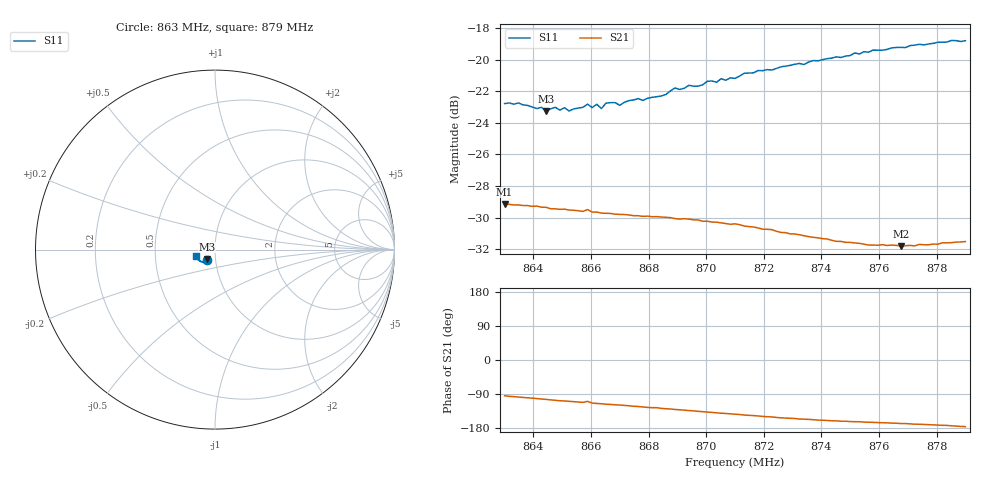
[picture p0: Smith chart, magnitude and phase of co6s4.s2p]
# HZ S RI R 50
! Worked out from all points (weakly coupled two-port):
!   101 points, 863 MHz to 879 MHz, reference 50 ohm
!   highest |S21| = -29.14 dB at 863 MHz (marker M1); lowest = -31.8 dB at 876.76 MHz (marker M2)
!   lowest |S11| = -23.3 dB at 864.44 MHz (marker M3), VSWR 1.15, Z = 45.5 - j4.75 ohm
!   |S11| at or under -10 dB: start of sweep to end of sweep
!   S12 and S22 are empty: the file has one direction only
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8.63e8  -0.0447 -0.0571  -0.00268 -0.0348  0 0  0 0
8.6348e8  -0.0443 -0.0579  -0.00468 -0.0344  0 0  0 0
8.6428e8  -0.0403 -0.058  -0.00768 -0.0332  0 0  0 0
8.6444e8  -0.0449 -0.052  -0.00823 -0.0331  0 0  0 0
8.6476e8  -0.0414 -0.0572  -0.00949 -0.0323  0 0  0 0
8.6524e8  -0.0383 -0.0571  -0.0109 -0.0316  0 0  0 0
8.6572e8  -0.0381 -0.0595  -0.0123 -0.0307  0 0  0 0
8.6588e8  -0.0389 -0.0608  -0.011 -0.0317  0 0  0 0
8.6604e8  -0.0375 -0.0597  -0.0132 -0.0301  0 0  0 0
8.662e8  -0.0389 -0.0608  -0.0137 -0.0299  0 0  0 0
8.6636e8  -0.0368 -0.0595  -0.014 -0.0295  0 0  0 0
8.6652e8  -0.0381 -0.062  -0.0147 -0.0291  0 0  0 0
8.67e8  -0.0366 -0.0616  -0.0156 -0.0283  0 0  0 0
8.6732e8  -0.0395 -0.0628  -0.0165 -0.0277  0 0  0 0
8.6844e8  -0.04 -0.0654  -0.0194 -0.0251  0 0  0 0
8.6892e8  -0.043 -0.0691  -0.0204 -0.0238  0 0  0 0
8.71e8  -0.0507 -0.0709  -0.0241 -0.0182  0 0  0 0
8.7132e8  -0.0546 -0.0721  -0.0244 -0.017  0 0  0 0
8.7372e8  -0.0697 -0.0707  -0.0253 -0.0105  0 0  0 0
8.7644e8  -0.0915 -0.059  -0.0252 -0.006  0 0  0 0
8.7676e8  -0.0937 -0.0563  -0.0251 -0.00542  0 0  0 0
8.79e8  -0.1084 -0.0374  -0.0265 -0.00194  0 0  0 0
